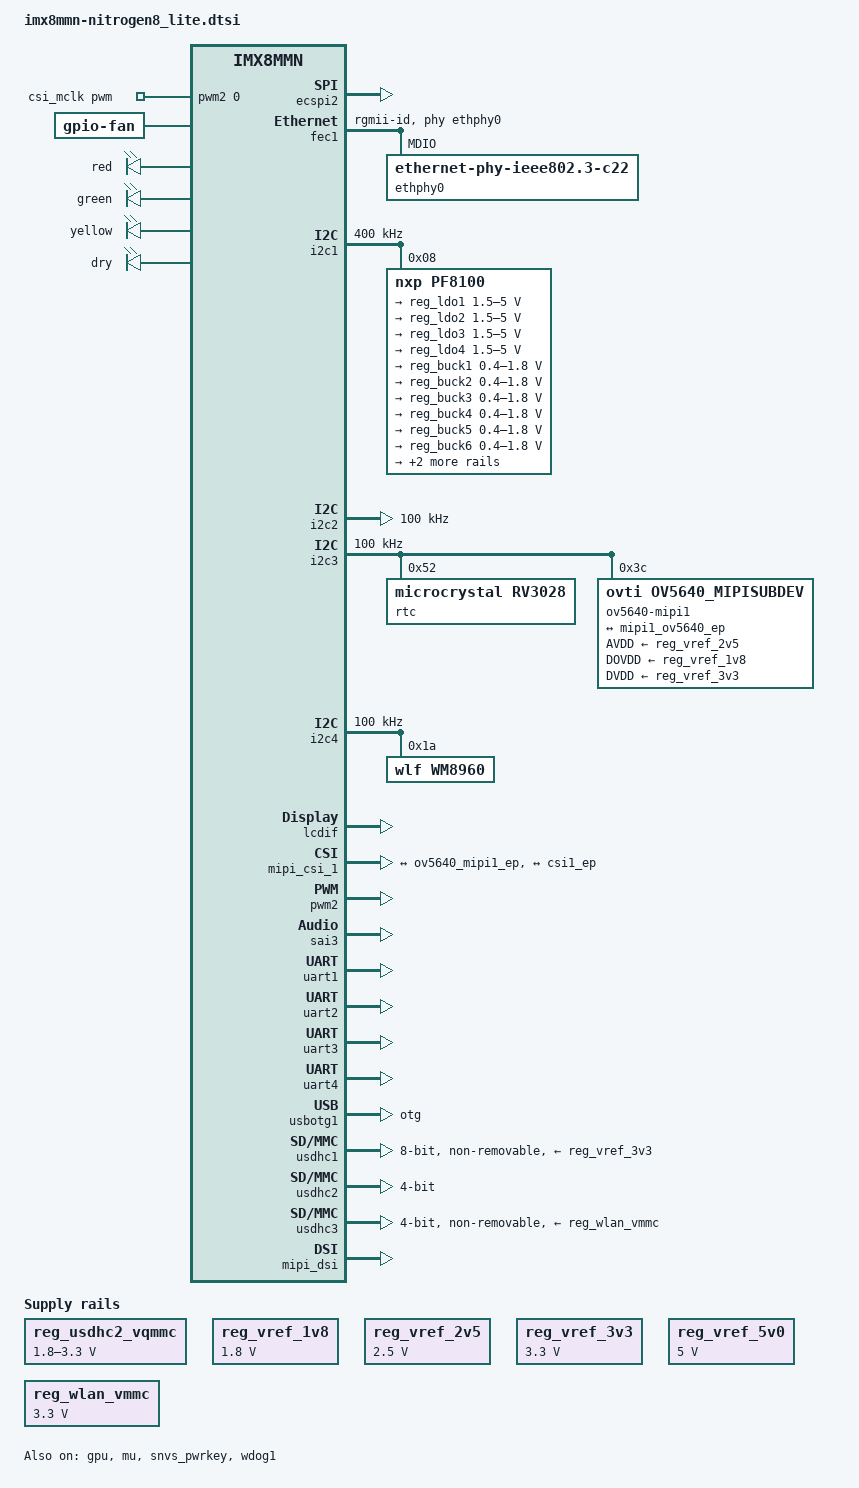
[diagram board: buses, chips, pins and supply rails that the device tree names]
// SPDX-License-Identifier: (GPL-2.0+ OR MIT)
/*
 * Copyright 2018 Boundary Devices
 */
&iomuxc {
	pinctrl-names = "default";
	pinctrl-0 = <&pinctrl_hog>;

	pinctrl_bt_rfkill: bt-rfkillgrp {
		fsl,pins = <
#define GP_BT_RFKILL_RESET	<&gpio3 6 GPIO_ACTIVE_LOW>
			MX8MMN(IOMUXC_NAND_DATA00_GPIO3_IO6, 0x1c0)	/* BT_EN */
		>;
	};

	pinctrl_ecspi2: ecspi2grp {
		fsl,pins = <
			/* J48 */
#define GP_ECSPI2_CS0	<&gpio5 13 GPIO_ACTIVE_LOW>
			MX8MMN(IOMUXC_ECSPI2_SS0_GPIO5_IO13, 0x140)	/* Pin 5 */
			MX8MMN(IOMUXC_ECSPI2_MISO_ECSPI2_MISO, 0x19)	/* Pin 6 */
			MX8MMN(IOMUXC_ECSPI2_SCLK_ECSPI2_SCLK, 0x19)	/* Pin 7 */
			MX8MMN(IOMUXC_ECSPI2_MOSI_ECSPI2_MOSI, 0x19)	/* Pin 8 */
		>;
	};

	pinctrl_fec1: fec1grp {
		fsl,pins = <
			/* PAD_CTL_ODE is screwy on 8mm mini, avoid it */
#define GP_MII_MDC	<&gpio1 16 GPIO_PULSE_HIGH>
			MX8MMN(IOMUXC_ENET_MDC_GPIO1_IO16, 0x00)
#define GP_MII_MDIO	<&gpio1 17 GPIO_ACTIVE_HIGH>
			MX8MMN(IOMUXC_ENET_MDIO_GPIO1_IO17, 0x00)
			MX8MMN(IOMUXC_ENET_RD0_ENET1_RGMII_RD0, 0x91)
			MX8MMN(IOMUXC_ENET_RD1_ENET1_RGMII_RD1, 0x91)
			MX8MMN(IOMUXC_ENET_RD2_ENET1_RGMII_RD2, 0x91)
			MX8MMN(IOMUXC_ENET_RD3_ENET1_RGMII_RD3, 0x91)
			MX8MMN(IOMUXC_ENET_RXC_ENET1_RGMII_RXC, 0x91)
			MX8MMN(IOMUXC_ENET_RX_CTL_ENET1_RGMII_RX_CTL, 0x91)
			MX8MMN(IOMUXC_ENET_TD0_ENET1_RGMII_TD0, 0x1f)
			MX8MMN(IOMUXC_ENET_TD1_ENET1_RGMII_TD1, 0x1f)
			MX8MMN(IOMUXC_ENET_TD2_ENET1_RGMII_TD2, 0x1f)
			MX8MMN(IOMUXC_ENET_TD3_ENET1_RGMII_TD3, 0x1f)
			MX8MMN(IOMUXC_ENET_TXC_ENET1_RGMII_TXC, 0x1f)
			MX8MMN(IOMUXC_ENET_TX_CTL_ENET1_RGMII_TX_CTL, 0x1f)
#define GP_FEC1_RESET	<&gpio3 15 GPIO_ACTIVE_LOW>
			MX8MMN(IOMUXC_NAND_RE_B_GPIO3_IO15, 0x159)
#define GPIRQ_FEC1_PHY	<&gpio3 16 IRQ_TYPE_LEVEL_LOW>
			MX8MMN(IOMUXC_NAND_READY_B_GPIO3_IO16, 0x159)
		>;
	};

	pinctrl_gpio_fan: gpio-fangrp {
		fsl,pins = <
#define GP_FAN_ENABLE		<&gpio4 28 GPIO_ACTIVE_HIGH>
			MX8MMN(IOMUXC_SAI3_RXFS_GPIO4_IO28, 0x00)
		>;
	};

	pinctrl_gpio_leds: gpio-ledsgrp {
		fsl,pins = <
#define GP_GPIOLEDS_RED		<&gpio3 22 GPIO_ACTIVE_HIGH>
			MX8MMN(IOMUXC_SAI5_RXD1_GPIO3_IO22, 0x100)
#define GP_GPIOLEDS_GREEN	<&gpio3 21 GPIO_ACTIVE_HIGH>
			MX8MMN(IOMUXC_SAI5_RXD0_GPIO3_IO21, 0x100)
#define GP_GPIOLEDS_YELLOW	<&gpio4 23 GPIO_ACTIVE_HIGH>
			MX8MMN(IOMUXC_SAI2_RXD0_GPIO4_IO23, 0x100)
#define GP_GPIOLEDS_DRY		<&gpio4 29 GPIO_ACTIVE_HIGH>
			MX8MMN(IOMUXC_SAI3_RXC_GPIO4_IO29, 0x100)	/* U64 pin 12 */
		>;
	};

	pinctrl_hog: hoggrp {
		fsl,pins = <
			MX8MMN(IOMUXC_SAI5_RXC_GPIO3_IO20, 0x140)	/* J18 Pin 3 */
			MX8MMN(IOMUXC_SAI5_RXFS_GPIO3_IO19, 0x140)	/* J18 Pin 5 */
			MX8MMN(IOMUXC_GPIO1_IO03_GPIO1_IO3, 0x140)	/* J28 Pin 1 */
			MX8MMN(IOMUXC_GPIO1_IO05_GPIO1_IO5, 0x140)	/* J48 Pin 4, M4 NMI */
			MX8MMN(IOMUXC_SAI5_MCLK_GPIO3_IO25, 0x140)	/* J48 Pin 3 */
			/* Test points */
			MX8MMN(IOMUXC_SD2_RESET_B_GPIO2_IO19, 0x140)	/* tp7 */
			MX8MMN(IOMUXC_NAND_DATA02_GPIO3_IO8, 0x1c0)	/* tp103 */
			MX8MMN(IOMUXC_NAND_DATA03_GPIO3_IO9, 0x1c0)	/* tp104 */
		>;
	};

	pinctrl_i2c1: i2c1grp {
		fsl,pins = <
			MX8MMN(IOMUXC_I2C1_SCL_I2C1_SCL, 0x400001c3)
			MX8MMN(IOMUXC_I2C1_SDA_I2C1_SDA, 0x400001c3)
		>;
	};

	pinctrl_i2c1_1: i2c1_1grp {
		fsl,pins = <
#define GP_I2C1_SCL	<&gpio5 14 GPIO_OPEN_DRAIN>
			MX8MMN(IOMUXC_I2C1_SCL_GPIO5_IO14, 0x400001c3)
#define GP_I2C1_SDA	<&gpio5 15 GPIO_OPEN_DRAIN>
			MX8MMN(IOMUXC_I2C1_SDA_GPIO5_IO15, 0x400001c3)
		>;
	};

	pinctrl_i2c1_pf8100: i2c1-pf8100grp {
		fsl,pins = <
#define GP_I2C1_PF8100_EWARN	<&gpio3 3 GPIO_ACTIVE_LOW>
			MX8MMN(IOMUXC_NAND_CE2_B_GPIO3_IO3, 0x149)
#define GP_I2C1_PF8100_FAULT	<&gpio3 4 GPIO_ACTIVE_LOW>
			MX8MMN(IOMUXC_NAND_CE3_B_GPIO3_IO4, 0x149)
		>;
	};

	pinctrl_i2c2: i2c2grp {
		fsl,pins = <
			MX8MMN(IOMUXC_I2C2_SCL_I2C2_SCL, 0x400001c3)
			MX8MMN(IOMUXC_I2C2_SDA_I2C2_SDA, 0x400001c3)
		>;
	};

	pinctrl_i2c2_1: i2c2_1grp {
		fsl,pins = <
#define GP_I2C2_SCL	<&gpio5 16 GPIO_OPEN_DRAIN>
			MX8MMN(IOMUXC_I2C2_SCL_GPIO5_IO16, 0x400001c3)
#define GP_I2C2_SDA	<&gpio5 17 GPIO_OPEN_DRAIN>
			MX8MMN(IOMUXC_I2C2_SDA_GPIO5_IO17, 0x400001c3)
		>;
	};

	pinctrl_i2c3: i2c3grp {
		fsl,pins = <
			MX8MMN(IOMUXC_I2C3_SCL_I2C3_SCL, 0x400001c3)
			MX8MMN(IOMUXC_I2C3_SDA_I2C3_SDA, 0x400001c3)
		>;
	};

	pinctrl_i2c3_1: i2c3_1grp {
		fsl,pins = <
#define GP_I2C3_SCL	<&gpio5 18 GPIO_OPEN_DRAIN>
			MX8MMN(IOMUXC_I2C3_SCL_GPIO5_IO18, 0x400001c3)
#define GP_I2C3_SDA	<&gpio5 19 GPIO_OPEN_DRAIN>
			MX8MMN(IOMUXC_I2C3_SDA_GPIO5_IO19, 0x400001c3)
		>;
	};

	pinctrl_i2c3_rv3028: i2c3-rv3028grp {
		fsl,pins = <
#define GPIRQ_RV3028		<&gpio3 23 IRQ_TYPE_LEVEL_LOW>
			MX8MMN(IOMUXC_SAI5_RXD2_GPIO3_IO23, 0x1c0)
			MX8MMN(IOMUXC_SAI5_RXD3_GPIO3_IO24, 0x1c0)	/* EVI */
		>;
	};

	pinctrl_i2c3_ov5640_mipi: i2c3-ov5640-mipigrp {
		fsl,pins = <
#define GP_OV5640_MIPI_POWER_DOWN	<&gpio5 5 GPIO_ACTIVE_HIGH>
			MX8MMN(IOMUXC_SPDIF_EXT_CLK_GPIO5_IO5, 0x141)
#define GP_OV5640_MIPI_RESET	<&gpio1 11 GPIO_ACTIVE_LOW>
			MX8MMN(IOMUXC_GPIO1_IO11_GPIO1_IO11, 0x101)
		>;
	};

	pinctrl_i2c4: i2c4grp {
		fsl,pins = <
			MX8MMN(IOMUXC_I2C4_SCL_I2C4_SCL, 0x400001c3)
			MX8MMN(IOMUXC_I2C4_SDA_I2C4_SDA, 0x400001c3)
		>;
	};

	pinctrl_i2c4_1: i2c4_1grp {
		fsl,pins = <
#define GP_I2C4_SCL	<&gpio5 20 GPIO_OPEN_DRAIN>
			MX8MMN(IOMUXC_I2C4_SCL_GPIO5_IO20, 0x400001c3)
#define GP_I2C4_SDA	<&gpio5 21 GPIO_OPEN_DRAIN>
			MX8MMN(IOMUXC_I2C4_SDA_GPIO5_IO21, 0x400001c3)
		>;
	};

	pinctrl_pwm2: pwm2grp {
		fsl,pins = <
			MX8MMN(IOMUXC_SPDIF_RX_PWM2_OUT, 0x16)
		>;
	};

	pinctrl_reg_usdhc2_vqmmc: reg_usdhc2_vqmmcgrp {
		fsl,pins = <
#define GP_USDHC2_VSEL	<&gpio3 2 GPIO_ACTIVE_HIGH>
			MX8MMN(IOMUXC_NAND_CE1_B_GPIO3_IO2, 0x16)
		>;
	};

	pinctrl_reg_wlan_vmmc: reg-wlan-vmmcgrp {
		fsl,pins = <
#define GP_REG_WLAN_VMMC	<&gpio3 7 GPIO_ACTIVE_HIGH>
			MX8MMN(IOMUXC_NAND_DATA01_GPIO3_IO7, 0x16)
		>;
	};

	pinctrl_sai3: sai3grp {
		fsl,pins = <
			/* WM8960 */
			MX8MMN(IOMUXC_SAI3_MCLK_SAI3_MCLK, 0xd6)
			MX8MMN(IOMUXC_SAI3_TXFS_SAI3_TX_SYNC, 0xd6)
			MX8MMN(IOMUXC_SAI3_TXC_SAI3_TX_BCLK, 0xd6)
			MX8MMN(IOMUXC_SAI3_TXD_SAI3_TX_DATA0, 0xd6)
			MX8MMN(IOMUXC_SAI3_RXD_SAI3_RX_DATA0, 0xd6)
		>;
	};

	pinctrl_sound_wm8960: sound-wm8960grp {
		fsl,pins = <
#define GP_WM8960_MIC_DET		<&gpio1 10 GPIO_ACTIVE_HIGH>
			MX8MMN(IOMUXC_GPIO1_IO10_GPIO1_IO10, 0x80)
		>;
	};

	pinctrl_uart1: uart1grp {
		fsl,pins = <
			MX8MMN(IOMUXC_UART1_RXD_UART1_DCE_RX, 0x140)
			MX8MMN(IOMUXC_UART1_TXD_UART1_DCE_TX, 0x140)
			MX8MMN(IOMUXC_UART3_RXD_UART1_DCE_CTS_B, 0x140)
			MX8MMN(IOMUXC_UART3_TXD_UART1_DCE_RTS_B, 0x140)
		>;
	};

	pinctrl_uart2: uart2grp {
		fsl,pins = <
			MX8MMN(IOMUXC_UART2_RXD_UART2_DCE_RX, 0x140)
			MX8MMN(IOMUXC_UART2_TXD_UART2_DCE_TX, 0x140)
		>;
	};

	pinctrl_uart3: uart3grp {
		fsl,pins = <
			MX8MMN(IOMUXC_ECSPI1_SCLK_UART3_DCE_RX, 0x140)
			MX8MMN(IOMUXC_ECSPI1_MOSI_UART3_DCE_TX, 0x140)
			MX8MMN(IOMUXC_ECSPI1_SS0_UART3_DCE_RTS_B, 0x140)
			MX8MMN(IOMUXC_ECSPI1_MISO_UART3_DCE_CTS_B, 0x140)
		>;
	};

	pinctrl_uart4: uart4grp {
		fsl,pins = <
			MX8MMN(IOMUXC_UART4_RXD_UART4_DCE_RX, 0x140)
			MX8MMN(IOMUXC_UART4_TXD_UART4_DCE_TX, 0x140)
		>;
	};

	pinctrl_usbotg1: usbotg1grp {
		fsl,pins = <
			MX8MMN(IOMUXC_GPIO1_IO12_USB1_OTG_PWR, 0x16)
			MX8MMN(IOMUXC_GPIO1_IO13_USB1_OTG_OC, 0x156)
		>;
	};

	pinctrl_usdhc1: usdhc1grp {
		fsl,pins = <
			MX8MMN(IOMUXC_SD1_CLK_USDHC1_CLK, 0x190)
			MX8MMN(IOMUXC_SD1_CMD_USDHC1_CMD, 0x1d0)
			MX8MMN(IOMUXC_SD1_DATA0_USDHC1_DATA0, 0x1d0)
			MX8MMN(IOMUXC_SD1_DATA1_USDHC1_DATA1, 0x1d0)
			MX8MMN(IOMUXC_SD1_DATA2_USDHC1_DATA2, 0x1d0)
			MX8MMN(IOMUXC_SD1_DATA3_USDHC1_DATA3, 0x1d0)
			MX8MMN(IOMUXC_SD1_DATA4_USDHC1_DATA4, 0x1d0)
			MX8MMN(IOMUXC_SD1_DATA5_USDHC1_DATA5, 0x1d0)
			MX8MMN(IOMUXC_SD1_DATA6_USDHC1_DATA6, 0x1d0)
			MX8MMN(IOMUXC_SD1_DATA7_USDHC1_DATA7, 0x1d0)
#define GP_EMMC_RESET		<&gpio2 10 GPIO_ACTIVE_LOW>
			MX8MMN(IOMUXC_SD1_RESET_B_GPIO2_IO10, 0x141)
		>;
	};

	pinctrl_usdhc1_100mhz: usdhc1grp100mhz {
		fsl,pins = <
			MX8MMN(IOMUXC_SD1_CLK_USDHC1_CLK, 0x194)
			MX8MMN(IOMUXC_SD1_CMD_USDHC1_CMD, 0x1d4)
			MX8MMN(IOMUXC_SD1_DATA0_USDHC1_DATA0, 0x1d4)
			MX8MMN(IOMUXC_SD1_DATA1_USDHC1_DATA1, 0x1d4)
			MX8MMN(IOMUXC_SD1_DATA2_USDHC1_DATA2, 0x1d4)
			MX8MMN(IOMUXC_SD1_DATA3_USDHC1_DATA3, 0x1d4)
			MX8MMN(IOMUXC_SD1_DATA4_USDHC1_DATA4, 0x1d4)
			MX8MMN(IOMUXC_SD1_DATA5_USDHC1_DATA5, 0x1d4)
			MX8MMN(IOMUXC_SD1_DATA6_USDHC1_DATA6, 0x1d4)
			MX8MMN(IOMUXC_SD1_DATA7_USDHC1_DATA7, 0x1d4)
		>;
	};

	pinctrl_usdhc1_200mhz: usdhc1grp200mhz {
		fsl,pins = <
			MX8MMN(IOMUXC_SD1_CLK_USDHC1_CLK, 0x196)
			MX8MMN(IOMUXC_SD1_CMD_USDHC1_CMD, 0x1d6)
			MX8MMN(IOMUXC_SD1_DATA0_USDHC1_DATA0, 0x1d6)
			MX8MMN(IOMUXC_SD1_DATA1_USDHC1_DATA1, 0x1d6)
			MX8MMN(IOMUXC_SD1_DATA2_USDHC1_DATA2, 0x1d6)
			MX8MMN(IOMUXC_SD1_DATA3_USDHC1_DATA3, 0x1d6)
			MX8MMN(IOMUXC_SD1_DATA4_USDHC1_DATA4, 0x1d6)
			MX8MMN(IOMUXC_SD1_DATA5_USDHC1_DATA5, 0x1d6)
			MX8MMN(IOMUXC_SD1_DATA6_USDHC1_DATA6, 0x1d6)
			MX8MMN(IOMUXC_SD1_DATA7_USDHC1_DATA7, 0x1d6)
		>;
	};

	pinctrl_usdhc2: usdhc2grp {
		fsl,pins = <
			MX8MMN(IOMUXC_SD2_CLK_USDHC2_CLK, 0x190)
			MX8MMN(IOMUXC_SD2_CMD_USDHC2_CMD, 0x1d0)
			MX8MMN(IOMUXC_SD2_DATA0_USDHC2_DATA0, 0x1d0)
			MX8MMN(IOMUXC_SD2_DATA1_USDHC2_DATA1, 0x1d0)
			MX8MMN(IOMUXC_SD2_DATA2_USDHC2_DATA2, 0x1d0)
			MX8MMN(IOMUXC_SD2_DATA3_USDHC2_DATA3, 0x1d0)
#define GP_USDHC2_CD	<&gpio2 12 GPIO_ACTIVE_LOW>
			MX8MMN(IOMUXC_SD2_CD_B_GPIO2_IO12, 0x1c4)
		>;
	};

	pinctrl_usdhc2_100mhz: usdhc2grp100mhz {
		fsl,pins = <
			MX8MMN(IOMUXC_SD2_CLK_USDHC2_CLK, 0x194)
			MX8MMN(IOMUXC_SD2_CMD_USDHC2_CMD, 0x1d4)
			MX8MMN(IOMUXC_SD2_DATA0_USDHC2_DATA0, 0x1d4)
			MX8MMN(IOMUXC_SD2_DATA1_USDHC2_DATA1, 0x1d4)
			MX8MMN(IOMUXC_SD2_DATA2_USDHC2_DATA2, 0x1d4)
			MX8MMN(IOMUXC_SD2_DATA3_USDHC2_DATA3, 0x1d4)
		>;
	};

	pinctrl_usdhc2_200mhz: usdhc2grp200mhz {
		fsl,pins = <
			MX8MMN(IOMUXC_SD2_CLK_USDHC2_CLK, 0x196)
			MX8MMN(IOMUXC_SD2_CMD_USDHC2_CMD, 0x1d6)
			MX8MMN(IOMUXC_SD2_DATA0_USDHC2_DATA0, 0x1d6)
			MX8MMN(IOMUXC_SD2_DATA1_USDHC2_DATA1, 0x1d6)
			MX8MMN(IOMUXC_SD2_DATA2_USDHC2_DATA2, 0x1d6)
			MX8MMN(IOMUXC_SD2_DATA3_USDHC2_DATA3, 0x1d6)
		>;
	};

	pinctrl_usdhc3: usdhc3grp {
		fsl,pins = <
			MX8MMN(IOMUXC_NAND_WE_B_USDHC3_CLK, 0x190)
			MX8MMN(IOMUXC_NAND_WP_B_USDHC3_CMD, 0x1d0)
			MX8MMN(IOMUXC_NAND_DATA04_USDHC3_DATA0, 0x1d0)
			MX8MMN(IOMUXC_NAND_DATA05_USDHC3_DATA1, 0x1d0)
			MX8MMN(IOMUXC_NAND_DATA06_USDHC3_DATA2, 0x1d0)
			MX8MMN(IOMUXC_NAND_DATA07_USDHC3_DATA3, 0x1d0)
			/* Bluetooth slow clock */
			MX8MMN(IOMUXC_GPIO1_IO00_ANAMIX_REF_CLK_32K, 0x03)
			MX8MMN(IOMUXC_NAND_CE0_B_GPIO3_IO1, 0x82)	/* BT_WAKE_DEV */
			MX8MMN(IOMUXC_NAND_ALE_GPIO3_IO0, 0x1c0)	/* CLK_REQ */
			MX8MMN(IOMUXC_NAND_DQS_GPIO3_IO14, 0x1c0)	/* SDIO_INT */
		>;
	};

	pinctrl_usdhc3_100mhz: usdhc3grp100mhz {
		fsl,pins = <
			MX8MMN(IOMUXC_NAND_WE_B_USDHC3_CLK, 0x194)
			MX8MMN(IOMUXC_NAND_WP_B_USDHC3_CMD, 0x1d4)
			MX8MMN(IOMUXC_NAND_DATA04_USDHC3_DATA0, 0x1d4)
			MX8MMN(IOMUXC_NAND_DATA05_USDHC3_DATA1, 0x1d4)
			MX8MMN(IOMUXC_NAND_DATA06_USDHC3_DATA2, 0x1d4)
			MX8MMN(IOMUXC_NAND_DATA07_USDHC3_DATA3, 0x1d4)
		>;
	};

	pinctrl_usdhc3_200mhz: usdhc3grp200mhz {
		fsl,pins = <
			MX8MMN(IOMUXC_NAND_WE_B_USDHC3_CLK, 0x196)
			MX8MMN(IOMUXC_NAND_WP_B_USDHC3_CMD, 0x1d6)
			MX8MMN(IOMUXC_NAND_DATA04_USDHC3_DATA0, 0x1d6)
			MX8MMN(IOMUXC_NAND_DATA05_USDHC3_DATA1, 0x1d6)
			MX8MMN(IOMUXC_NAND_DATA06_USDHC3_DATA2, 0x1d6)
			MX8MMN(IOMUXC_NAND_DATA07_USDHC3_DATA3, 0x1d6)
		>;
	};

	pinctrl_wdog: wdoggrp {
		fsl,pins = <
			MX8MMN(IOMUXC_GPIO1_IO02_WDOG1_WDOG_B, 0x140)
		>;
	};

	pinctrl_wiegand: wiegandgrp {
		fsl,pins = <
			/* J46 pin 2 */
#define GP_WIEGAND_DATA0		<&gpio1 4 GPIO_ACTIVE_HIGH>
			MX8MMN(IOMUXC_GPIO1_IO04_GPIO1_IO4, 0x100)

			/* J46 pin 3 */
#define GP_WIEGAND_DATA1		<&gpio1 8 GPIO_ACTIVE_HIGH>
			MX8MMN(IOMUXC_GPIO1_IO08_GPIO1_IO8, 0x100)
		>;
	};
};

/ {
	aliases {
		a53 = &A53_0;
	};

	chosen {
		bootargs = "console=ttymxc1,115200";
		stdout-patch = &uart2;
	};

	bt-rfkill {
		compatible = "net,rfkill-gpio";
		pinctrl-names = "default";
		pinctrl-0 = <&pinctrl_bt_rfkill>;
		name = "bt-rfkill";
		type = <2>; /* Bluetooth */
		reset-gpios = GP_BT_RFKILL_RESET;
		status = "okay";
	};

	csi_mclk: csi-mclk {
		compatible = "pwm-clock";
		#clock-cells = <0>;
		clock-frequency = <20000000>;
		clock-output-names = "csi_mclk";
		pwms = <&pwm2 0 50 0>; /* 1 / 50 ns = 20 MHz */
	};

	fan: gpio-fan {
		#cooling-cells = <2>;
		compatible = "gpio-fan";
		pinctrl-names = "default";
		pinctrl-0 = <&pinctrl_gpio_fan>;
		gpio-fan,speed-map = <0 0 1 1>;
		gpios = GP_FAN_ENABLE;
		status = "okay";
	};

	gpio_leds: leds {
		compatible = "gpio-leds";
		pinctrl-names = "default";
		pinctrl-0 = <&pinctrl_gpio_leds>;

		red {
			default-state = "off";
			gpios = GP_GPIOLEDS_RED;
			retain-state-suspended;
		};

		green {
			default-state = "off";
			gpios = GP_GPIOLEDS_GREEN;
			retain-state-suspended;
		};

		yellow {
			default-state = "off";
			gpios = GP_GPIOLEDS_YELLOW;
			retain-state-suspended;
		};

		dry {
			default-state = "off";
			gpios = GP_GPIOLEDS_DRY;
			retain-state-suspended;
		};
	};

	reg_usdhc2_vqmmc: regulator-usdhc2-vqmmc {
		compatible = "regulator-gpio";
		pinctrl-names = "default";
		pinctrl-0 = <&pinctrl_reg_usdhc2_vqmmc>;
		regulator-name = "reg_sd2_vsel";
		regulator-min-microvolt = <1800000>;
		regulator-max-microvolt = <3300000>;
		regulator-type = "voltage";
		regulator-boot-on;
		regulator-always-on;
		gpios = GP_USDHC2_VSEL;
		states = <1800000 0x1
			  3300000 0x0>;
	};

	reg_vref_1v8: regulator-vref-1v8 {
		compatible = "regulator-fixed";
		regulator-name = "vref-1v8";
		regulator-min-microvolt = <1800000>;
		regulator-max-microvolt = <1800000>;
	};

	reg_vref_2v5: regulator-vref-2v5 {
		compatible = "regulator-fixed";
		regulator-name = "vref-2v5";
		regulator-min-microvolt = <2500000>;
		regulator-max-microvolt = <2500000>;
	};

	reg_vref_3v3: regulator-vref-3v3 {
		compatible = "regulator-fixed";
		regulator-name = "vref-3v3";
		regulator-min-microvolt = <3300000>;
		regulator-max-microvolt = <3300000>;
	};

	reg_vref_5v0: regulator-vref-5v {
		compatible = "regulator-fixed";
		regulator-name = "vref-5v";
		regulator-min-microvolt = <5000000>;
		regulator-max-microvolt = <5000000>;
	};

	reg_wlan_vmmc: regulator-wlan-vmmc {
		compatible = "regulator-fixed";
		pinctrl-names = "default";
		pinctrl-0 = <&pinctrl_reg_wlan_vmmc>;
		regulator-name = "reg_wlan_vmmc";
		regulator-min-microvolt = <3300000>;
		regulator-max-microvolt = <3300000>;
		gpio = GP_REG_WLAN_VMMC;
		startup-delay-us = <70000>;
		enable-active-high;
	};

	sound-wm8960 {
		audio-codec = <&wm8960>;
		audio-cpu = <&sai3>;
		audio-routing =
			"Ext Spk", "SPK_LP",
			"Ext Spk", "SPK_LN",
			"Ext Spk", "SPK_RP",
			"Ext Spk", "SPK_RN",
			"LINPUT1", "Main MIC",
			"Main MIC", "MICB",
			"RINPUT1", "Mic Jack",
			"Mic Jack", "MICB";
		codec-master;
		compatible = "fsl,imx-audio-wm8960";
#if 0		/* Jack is not stuffed */
		mic-det-gpio = GP_WM8960_MIC_DET;
#endif
		model = "wm8960-audio";
		pinctrl-names = "default";
		pinctrl-0 = <&pinctrl_sound_wm8960>;
	};

	thermal-zones {
		cpu-thermal {
			trips {
				cpu_hot: trip2 {
					hysteresis = <2000>;
					temperature = <80000>;
					type = "active";
				};
			};

			cooling-maps {
				map1 {
					cooling-device =
						<&fan THERMAL_NO_LIMIT THERMAL_NO_LIMIT>;
					trip = <&cpu_hot>;
				};
			};
		};
	};

	wiegand {
		compatible = "wiegand,scanout";
		data0-gpios = GP_WIEGAND_DATA0;
		data1-gpios = GP_WIEGAND_DATA1;
		length = <26>;
		pinctrl-names = "default";
		pinctrl-0 = <&pinctrl_wiegand>;
	};
};

&A53_0 {
	cpu-supply = <&reg_buck3>;
};

&ecspi2 {
	pinctrl-names = "default";
	pinctrl-0 = <&pinctrl_ecspi2>;
	fsl,spi-num-chipselects = <1>;
	cs-gpios = GP_ECSPI2_CS0;
	status = "okay";
	#address-cells = <1>;
	#size-cells = <0>;
};

&fec1 {
	mdc-gpios = GP_MII_MDC;
	mdio-gpios = GP_MII_MDIO;
	pinctrl-names = "default";
	pinctrl-0 = <&pinctrl_fec1>;
#if 0
	phy-reset-gpios = GP_FEC1_RESET;
#endif
	phy-mode = "rgmii-id";
	phy-handle = <&ethphy0>;
	fsl,magic-packet;
	status = "okay";

	mdio {
		#address-cells = <1>;
		#size-cells = <0>;

		ethphy0: ethernet-phy {
			compatible = "ethernet-phy-ieee802.3-c22";
			interrupts-extended = GPIRQ_FEC1_PHY;
			reg-mask = <0x90>;
		};
	};
};

&gpu {
	status = "okay";
};

&i2c1 {
	clock-frequency = <400000>;
	pinctrl-names = "default", "gpio";
	pinctrl-0 = <&pinctrl_i2c1>;
	pinctrl-1 = <&pinctrl_i2c1_1>;
	scl-gpios = GP_I2C1_SCL;
	sda-gpios = GP_I2C1_SDA;
	status = "okay";

	pf8100@8 {
		compatible = "nxp,pf8100";
		pinctrl-names = "default";
		pinctrl-0 = <&pinctrl_i2c1_pf8100>;
		reg = <0x08>;

		regulators {
			reg_ldo1: ldo1 {
				regulator-always-on;
				regulator-boot-on;
				regulator-max-microvolt = <5000000>;
				regulator-min-microvolt = <1500000>;
			};

			reg_ldo2: ldo2 {
				regulator-always-on;
				regulator-boot-on;
				regulator-max-microvolt = <5000000>;
				regulator-min-microvolt = <1500000>;
				/* vselect low is 3.3V, high is 1.8V */
				vselect-en;
			};

			reg_ldo3: ldo3 {
				regulator-always-on;
				regulator-boot-on;
				regulator-max-microvolt = <5000000>;
				regulator-min-microvolt = <1500000>;
			};

			reg_ldo4: ldo4 {
				regulator-always-on;
				regulator-boot-on;
				regulator-max-microvolt = <5000000>;
				regulator-min-microvolt = <1500000>;
			};

			reg_buck1: buck1 {
				nxp,phase-shift = <0>;
				regulator-max-microamp = <4500000>;
				regulator-always-on;
				regulator-boot-on;
				regulator-max-microvolt = <1800000>;
				regulator-min-microvolt =  <400000>;
			};

			reg_buck2: buck2 {
				regulator-always-on;
				regulator-boot-on;
				regulator-max-microvolt = <1800000>;
				regulator-min-microvolt =  <400000>;
			};

			reg_buck3: buck3 {
				regulator-always-on;
				regulator-boot-on;
				regulator-max-microvolt = <1800000>;
				regulator-min-microvolt =  <400000>;
				fast-slew = <1>;
			};

			reg_buck4: buck4 {
				regulator-always-on;
				regulator-boot-on;
				regulator-max-microvolt = <1800000>;
				regulator-min-microvolt =  <400000>;
			};

			reg_buck5: buck5 {
				regulator-always-on;
				regulator-boot-on;
				regulator-max-microvolt = <1800000>;
				regulator-min-microvolt =  <400000>;
			};

			reg_buck6: buck6 {
				regulator-always-on;
				regulator-boot-on;
				regulator-max-microvolt = <1800000>;
				regulator-min-microvolt =  <400000>;
			};

			reg_buck7: buck7 {
				regulator-always-on;
				regulator-boot-on;
				regulator-max-microvolt = <4100000>;
				regulator-min-microvolt = <1000000>;
			};

			reg_vsnvs: vsnvs {
				regulator-always-on;
				regulator-boot-on;
				regulator-max-microvolt = <3300000>;
				regulator-min-microvolt = <1800000>;
			};
		};
	};
};

&i2c2 {
	clock-frequency = <100000>;
	pinctrl-names = "default", "gpio";
	pinctrl-0 = <&pinctrl_i2c2>;
	pinctrl-1 = <&pinctrl_i2c2_1>;
	scl-gpios = GP_I2C2_SCL;
	sda-gpios = GP_I2C2_SDA;
	status = "okay";
};

&i2c3 {
	clock-frequency = <100000>;
	pinctrl-names = "default", "gpio";
	pinctrl-0 = <&pinctrl_i2c3>;
	pinctrl-1 = <&pinctrl_i2c3_1>;
	scl-gpios = GP_I2C3_SCL;
	sda-gpios = GP_I2C3_SDA;
	status = "okay";

	rtc@52 {
		backup-switchover-dsm;
		compatible = "microcrystal,rv3028";
		pinctrl-names = "default";
		pinctrl-0 = <&pinctrl_i2c3_rv3028>;
		reg = <0x52>;
		interrupts-extended = GPIRQ_RV3028;
		wakeup-source;
	};

	ov5640-mipi1@3c {
		AVDD-supply = <&reg_vref_2v5>;
		DOVDD-supply = <&reg_vref_1v8>;
		DVDD-supply = <&reg_vref_3v3>;
		clocks = <&csi_mclk>;
		clock-names = "xclk";
		compatible = "ovti,ov5640_mipisubdev";
		csi_id = <0>;
		mclk = <20000000>;
		mipi_csi;
		pinctrl-names = "default";
		pinctrl-0 = <&pinctrl_i2c3_ov5640_mipi>;
		powerdown-gpios = GP_OV5640_MIPI_POWER_DOWN;
		reg = <0x3c>;
		reset-gpios = GP_OV5640_MIPI_RESET;
		status = "okay";

		port {
			ov5640_mipi1_ep: endpoint {
				remote-endpoint = <&mipi1_ov5640_ep>;
			};
		};
	};
};

&i2c4 {
	clock-frequency = <100000>;
	pinctrl-names = "default", "gpio";
	pinctrl-0 = <&pinctrl_i2c4>;
	pinctrl-1 = <&pinctrl_i2c4_1>;
	scl-gpios = GP_I2C4_SCL;
	sda-gpios = GP_I2C4_SDA;
	status = "okay";

	wm8960: codec@1a {
		clock-names = "mclk";
		clocks = <&clk IMX8MMN(CLK_SAI3_ROOT)>;
		compatible = "wlf,wm8960";
		reg = <0x1a>;
		wlf,gpio-cfg = <1 3>;
		wlf,shared-lrclk;
	};
};

&lcdif {
	status = "okay";
};

&mipi_csi_1 {
	#address-cells = <1>;
	#size-cells = <0>;
	status = "okay";
	port {
		mipi1_ov5640_ep: endpoint@1 {
			remote-endpoint = <&ov5640_mipi1_ep>;
			data-lanes = <2>;
			csis-hs-settle = <13>;
			csis-clk-settle = <2>;
			csis-wclk;
		};

		csi1_mipi_ep: endpoint@2 {
			remote-endpoint = <&csi1_ep>;
		};
	};
};

&mu {
	status = "okay";
};

&pwm2 {
	assigned-clocks = <&clk IMX8MMN(CLK_PWM2)>;
	assigned-clock-parents = <&clk IMX8MMN(SYS_PLL1_40M)>;
	assigned-clock-rates = <40000000>;
	pinctrl-names = "default";
	pinctrl-0 = <&pinctrl_pwm2>;
	status = "okay";
};

&sai3 {
	pinctrl-names = "default";
	pinctrl-0 = <&pinctrl_sai3>;
	status = "okay";
};

&snvs_pwrkey {
	status = "okay";
};

&uart1 { /* BT */
	assigned-clocks = <&clk IMX8MMN(CLK_UART1)>;
	assigned-clock-parents = <&clk IMX8MMN(SYS_PLL1_80M)>;
	uart-has-rtscts;
	pinctrl-names = "default";
	pinctrl-0 = <&pinctrl_uart1>;
	status = "okay";
};

&uart2 { /* J9 - console */
	assigned-clocks = <&clk IMX8MMN(CLK_UART2)>;
	assigned-clock-parents = <&clk IMX8MMN(CLK_24M)>;
	pinctrl-names = "default";
	pinctrl-0 = <&pinctrl_uart2>;
	status = "okay";
};

&uart3 { /* J28 */
	assigned-clocks = <&clk IMX8MMN(CLK_UART3)>;
	assigned-clock-parents = <&clk IMX8MMN(SYS_PLL1_80M)>;
	uart-has-rtscts;
	pinctrl-names = "default";
	pinctrl-0 = <&pinctrl_uart3>;
	status = "okay";
};

&uart4 { /* J9 */
	assigned-clocks = <&clk IMX8MMN(CLK_UART4)>;
	assigned-clock-parents = <&clk IMX8MMN(SYS_PLL1_80M)>;
	pinctrl-names = "default";
	pinctrl-0 = <&pinctrl_uart4>;
	status = "okay";
};

&usbotg1 {
	dr_mode = "otg";
	over-current-active-low;
	pinctrl-names = "default";
	pinctrl-0 = <&pinctrl_usbotg1>;
	power-active-high;
	status = "okay";
};

&usdhc1 {
	bus-width = <8>;
	no-mmc-hs400;
	non-removable;
	pinctrl-names = "default", "state_100mhz", "state_200mhz";
	pinctrl-0 = <&pinctrl_usdhc1>;
	pinctrl-1 = <&pinctrl_usdhc1_100mhz>;
	pinctrl-2 = <&pinctrl_usdhc1_200mhz>;
	status = "okay";
	vmmc-supply = <&reg_vref_3v3>;
	vqmmc-1-8-v;
	vqmmc-supply = <&reg_vref_1v8>;
};

&usdhc2 {
	bus-width = <4>;
	cd-gpios = GP_USDHC2_CD;
	pinctrl-names = "default", "state_100mhz", "state_200mhz";
	pinctrl-0 = <&pinctrl_usdhc2>;
	pinctrl-1 = <&pinctrl_usdhc2_100mhz>;
	pinctrl-2 = <&pinctrl_usdhc2_200mhz>;
	status = "okay";
	vqmmc-supply = <&reg_usdhc2_vqmmc>;
};

&usdhc3 {
	bus-width = <4>;
	fsl,sdio-async-interrupt-enabled;
	keep-power-in-suspend;
	no-sd-uhs-sdr104;
	non-removable;
	pinctrl-names = "default", "state_100mhz", "state_200mhz";
	pinctrl-0 = <&pinctrl_usdhc3>;
	pinctrl-1 = <&pinctrl_usdhc3_100mhz>;
	pinctrl-2 = <&pinctrl_usdhc3_200mhz>;
	pm-ignore-notify;
	status = "okay";
	vmmc-supply = <&reg_wlan_vmmc>;
	vqmmc-1-8-v;
	vqmmc-supply = <&reg_vref_1v8>;
};

&wdog1 {
	pinctrl-names = "default", "gpio";
	pinctrl-0 = <&pinctrl_wdog>;
	fsl,ext-reset-output;
	status = "okay";
};

/* J11 mipi display */
#define MIPI_DISPLAY		lcdif
#define MIPI_SUBSYSTEM		display_subsystem
#ifndef MIPI_I2C_BUS
#define MIPI_I2C_BUS		i2c2
#endif
#define MIPI_PHY_CLOCK		<&mipi_dsi 0>
#define MIPI_PIXEL_CLOCK	<&clk IMX8MMN(CLK_LCDIF_PIXEL)>

#ifndef MIPI_PWM
#define MIPI_PWM		pwm3
#define GP_MIPI_PWM(a)		<&gpio5 3 a>
#define PD_MIPI_PWM(a)		MX8MMN(IOMUXC_SPDIF_TX_GPIO5_IO3, a)	/* Pin 7 */
#define PD_MIPI_PWM_OUT(a)	MX8MMN(IOMUXC_SPDIF_TX_PWM3_OUT, a)
#endif

#define GP_MIPI_IRQ(a)		<&gpio1 1 a>
#define PD_MIPI_IRQ(a)		MX8MMN(IOMUXC_GPIO1_IO01_GPIO1_IO1, a)	/* Pin 8 */

#define GP_MIPI_TS_IRQ(a)	<&gpio1 6 a>
#define PD_MIPI_TS_IRQ(a)	MX8MMN(IOMUXC_GPIO1_IO06_GPIO1_IO6, a)	/* Pin 9 */

#define GP_MIPI_TS_RESET(a)	<&gpio1 7 a>
#define PD_MIPI_TS_RESET(a)	MX8MMN(IOMUXC_GPIO1_IO07_GPIO1_IO7, a)	/* Pin 10 */

#ifndef MIPI_ENABLE_PAD
#define GP_MIPI_ENABLE(a)	<&gpio1 9 a>
#define PD_MIPI_ENABLE(a)	MX8MMN(IOMUXC_GPIO1_IO09_GPIO1_IO9, a)	/* Pin 11 */
#endif

#define PAD_NOPULL		0x0
#define PAD_PULLDN		0x100
#define PAD_PULLUPIRQ		0x1c0
#define PAD_PULLDNIRQ		0x180
#include "nitrogen-mipi-dsi.dtsi"

&mipi_dsi {
	assigned-clocks = <&clk IMX8MMN(CLK_DSI_CORE)>,
			  <&clk IMX8MMN(CLK_DSI_PHY_REF)>,
			  <&clk IMX8MMN(VIDEO_PLL1_REF_SEL)>,
			  <&clk IMX8MMN(CLK_LCDIF_PIXEL)>;
	assigned-clock-parents = <&clk IMX8MMN(SYS_PLL1_266M)>,
				 <&clk IMX8MMN(VIDEO_PLL1_OUT)>,
				 <&clk IMX8MMN(CLK_24M)>;
	assigned-clock-rates = <266000000>, <0>, <0>, <66000000>;

	clocks = <&clk IMX8MMN(CLK_DSI_CORE)>,
		 <&clk IMX8MMN(CLK_DSI_PHY_REF)>,
		 <&clk IMX8MMN(CLK_LCDIF_PIXEL)>;
	clock-names = "cfg", "pll-ref", "pixel_clock";
	status = "okay";
};

&spi_lcd {
	assigned-clocks = <&clk IMX8MMN(VIDEO_PLL1)>;
	assigned-clock-rates = <384000000>;
};
